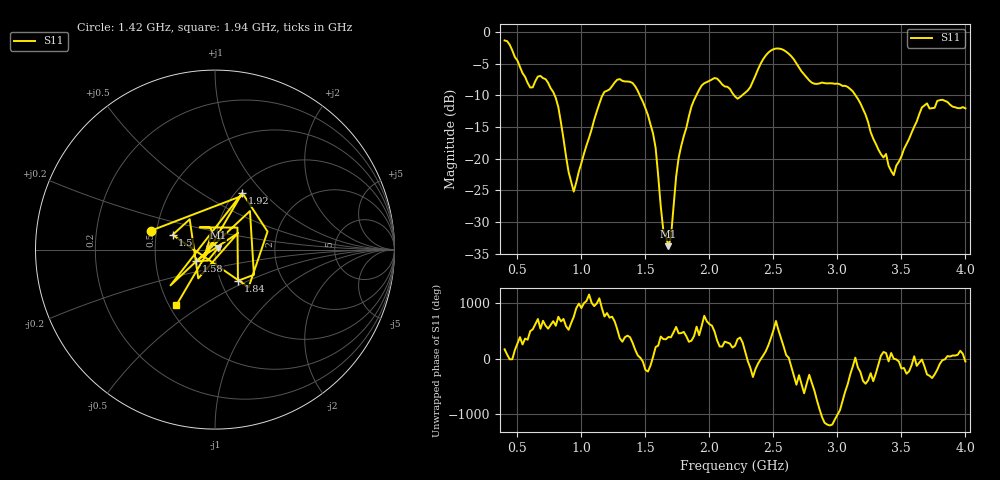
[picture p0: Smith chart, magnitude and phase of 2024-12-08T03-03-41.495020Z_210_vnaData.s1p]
!Created with skrf (http://scikit-rf.org).
# Hz S RI R 50.0
!freq ReS11 ImS11
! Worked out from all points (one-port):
!   181 points, 400 MHz to 4 GHz, reference 50 ohm
!   lowest |S11| = -33.8 dB at 1.68 GHz (marker M1), VSWR 1.04, Z = 51.7 + j1.11 ohm
!   |S11| at or under -10 dB: 790.8 MHz to 1.165 GHz (374.4 MHz wide, 38.3 % of centre); 1.456 GHz to 1.899 GHz (442.9 MHz wide, 26.4 % of centre); 3.141 GHz to end of sweep (the widest 3 of 4)
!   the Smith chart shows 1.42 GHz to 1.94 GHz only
!   S11 on the Smith chart (normalised r, x): 1.42 GHz: 0.46, +0.11; 1.5 GHz: 0.61, +0.11; 1.58 GHz: 0.81, -0.10; 1.84 GHz: 1.21, -0.44; 1.92 GHz: 1.07, +0.77; 1.94 GHz: 0.54, -0.39
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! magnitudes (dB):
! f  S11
! 400 MHz  -1.3
! 600 MHz  -8.8
! 740 MHz  -8.0
! 820 MHz  -11.9
! 860 MHz  -16.9
! 940 MHz  -25.2
! 1.16 GHz  -10.2
! 1.3 GHz  -7.5
! 1.42 GHz  -8.6
! 1.5 GHz  -12.0
! 1.58 GHz  -18.3
! 1.64 GHz  -31.3
! 1.68 GHz  -33.8
! 1.7 GHz  -32.3
! 1.76 GHz  -19.8
! 1.84 GHz  -13.3
! 1.92 GHz  -9.1
! 1.94 GHz  -8.5
! 2.06 GHz  -7.4
! 2.2 GHz  -10.2
! 2.48 GHz  -2.9
! 2.66 GHz  -4.3
! 2.8 GHz  -8.0
! 3.1 GHz  -9.0
! 3.44 GHz  -22.6
! 3.56 GHz  -16.9
! 3.7 GHz  -11.3
! 4 GHz  -12.1
